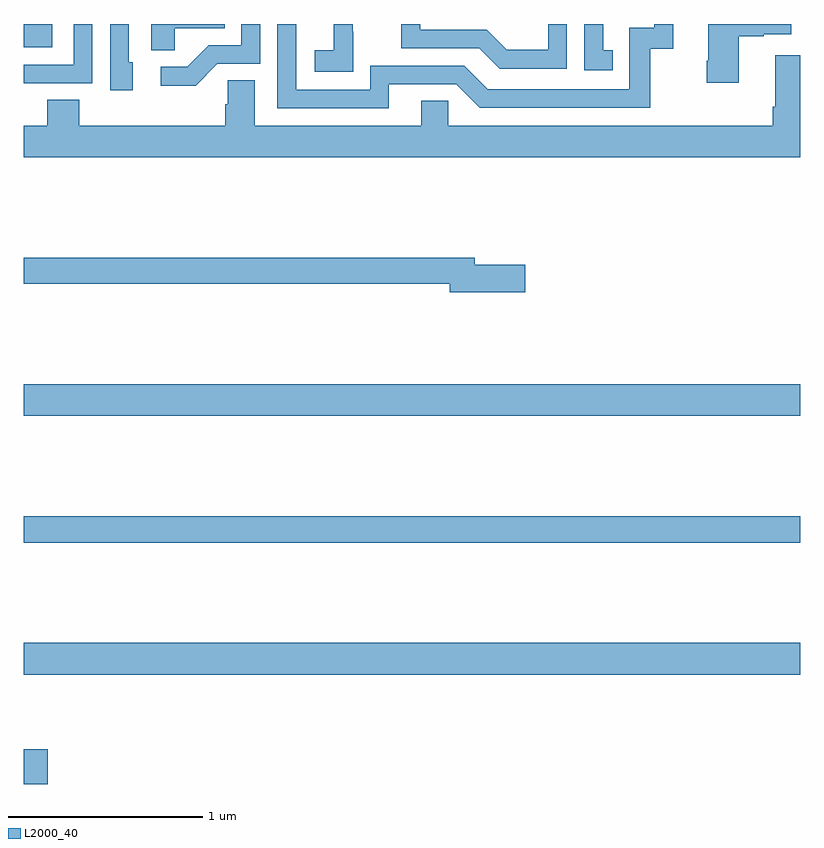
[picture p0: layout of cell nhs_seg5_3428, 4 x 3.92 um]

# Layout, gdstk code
import gdstk
lib = gdstk.Library(unit=1e-6, precision=1e-09)
def R(c, l, rs):  # rectangles x0, y0, x1, y1
    for r in rs: c.add(gdstk.rectangle(r[:2], r[2:], *l))
def P(c, l, *ps):  # polygons
    for p in ps: c.add(gdstk.Polygon(p, *l))
L2000_40 = (2000, 40)

nhs_seg5_3428 = lib.new_cell('nhs_seg5_3428')
R(nhs_seg5_3428, L2000_40, [(313,834.884,313.123,835.062), (313,835.448,317,835.612), (313,836.128,317,836.264), (313,836.78,317,836.944), (313,838.679,313.147,838.799)])
P(nhs_seg5_3428, L2000_40, [(314.881,838.488),(315.228,838.488),(315.348,838.368),(316.228,838.368),(316.228,838.671),(316.346,838.671),(316.346,838.799),(316.248,838.799),(316.248,838.779),(316.119,838.779),(316.119,838.464),(315.39,838.464),(315.27,838.584),(314.784,838.584),(314.784,838.461),(314.403,838.461),(314.403,838.799),(314.307,838.799),(314.307,838.365),(314.881,838.365)],
  [(313.561,838.602),(313.542,838.602),(313.542,838.799),(313.446,838.799),(313.446,838.458),(313.561,838.458)],
  [(313.779,838.778),(314.036,838.778),(314.036,838.799),(313.658,838.799),(313.658,838.663),(313.779,838.663)],
  [(315.798,838.799),(315.702,838.799),(315.702,838.666),(315.488,838.666),(315.384,838.77),(315.042,838.77),(315.042,838.799),(314.944,838.799),(314.944,838.674),(315.347,838.674),(315.452,838.569),(315.798,838.569)],
  [(313.998,838.593),(314.217,838.593),(314.217,838.799),(314.121,838.799),(314.121,838.689),(313.952,838.689),(313.841,838.578),(313.707,838.578),(313.707,838.481),(313.885,838.481)],
  [(314.697,838.759),(314.696,838.759),(314.696,838.799),(314.597,838.799),(314.597,838.663),(314.499,838.663),(314.499,838.553),(314.697,838.553)],
  [(316.684,838.735),(316.811,838.735),(316.811,838.745),(316.954,838.745),(316.954,838.799),(316.526,838.799),(316.526,838.609),(316.519,838.609),(316.519,838.497),(316.684,838.497)],
  [(313.037,838.494),(313.353,838.494),(313.353,838.799),(313.257,838.799),(313.257,838.59),(313,838.59),(313,838.493),(313.037,838.493)],
  [(316.034,838.665),(315.985,838.665),(315.985,838.799),(315.888,838.799),(315.888,838.56),(316.034,838.56)],
  [(317,838.639),(316.871,838.639),(316.871,838.372),(316.859,838.372),(316.859,838.276),(315.186,838.276),(315.186,838.403),(315.047,838.403),(315.047,838.276),(314.191,838.276),(314.191,838.508),(314.052,838.508),(314.052,838.385),(314.039,838.385),(314.039,838.276),(313.286,838.276),(313.286,838.409),(313.121,838.409),(313.121,838.276),(313,838.276),(313,838.112),(317,838.112)],
  [(315.583,837.56),(315.322,837.56),(315.322,837.596),(313,837.596),(313,837.46),(315.194,837.46),(315.194,837.418),(315.583,837.418)])

lib.write_gds('nhs_seg5_3428.gds')
